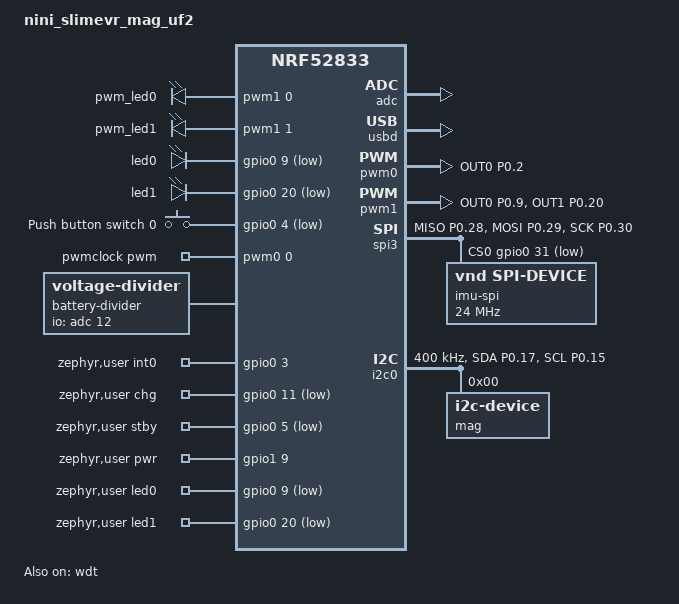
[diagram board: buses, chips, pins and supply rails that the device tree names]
// Copyright (c) 2024 Nordic Semiconductor ASA
// SPDX-License-Identifier: Apache-2.0

/dts-v1/;
#include <nordic/nrf52833_qdaa.dtsi>
#include <zephyr/dt-bindings/gpio/gpio.h>
#include <zephyr/dt-bindings/gpio/nordic-nrf-gpio.h>
#include <zephyr/dt-bindings/pinctrl/nrf-pinctrl.h>

//move to dtsi?


&pinctrl {
	spi3_default: spi3_default {
		group1 {
			psels = <NRF_PSEL(SPIM_MISO, 0, 28)>,
					<NRF_PSEL(SPIM_MOSI, 0, 29)>,
					<NRF_PSEL(SPIM_SCK, 0, 30)>;
		};
	};

	spi3_sleep: spi3_sleep {
		group1 {
			psels = <NRF_PSEL(SPIM_MISO, 0, 28)>,
					<NRF_PSEL(SPIM_MOSI, 0, 29)>,
					<NRF_PSEL(SPIM_SCK, 0, 30)>;
			low-power-enable;
		};
	};

	i2c0_default: i2c0_default {
		group1 {
			psels = <NRF_PSEL(TWIM_SDA, 0, 17)>,
					<NRF_PSEL(TWIM_SCL, 0, 15)>;
					bias-disable;
		};
	};

	i2c0_sleep: i2c0_sleep {
		group1 {
			psels = <NRF_PSEL(TWIM_SDA, 0, 17)>,
					<NRF_PSEL(TWIM_SCL, 0, 15)>;
			bias-disable;
			low-power-enable;
		};
	};

	pwm0_default: pwm0_default {
		group1 {
			psels = <NRF_PSEL(PWM_OUT0, 0, 2)>;
			nordic,drive-mode = <NRF_DRIVE_D0S1>;
		};
	};

	pwm0_sleep: pwm0_sleep {
		group1 {
			psels = <NRF_PIN_DISCONNECTED>;
			low-power-enable;
		};
	};

	pwm1_default: pwm1_default {
		group1 {
			psels = <NRF_PSEL(PWM_OUT0, 0, 9)>,
					<NRF_PSEL(PWM_OUT1, 0, 20)>;
			nordic,drive-mode = <NRF_DRIVE_D0S1>;
			nordic,invert;
		};
	};
	
	pwm1_sleep: pwm1_sleep {
		group1 {
			psels = <NRF_PSEL(PWM_OUT0, 0, 9)>,
					<NRF_PSEL(PWM_OUT1, 0, 20)>;
			low-power-enable;
		};
	};
};



/ {
	model = "nini_slimevr_mag_uf2";
	compatible = "nini_slimevr_mag_uf2";

	chosen {
		zephyr,sram = &sram0;
		zephyr,flash = &flash0;
		zephyr,console = &cdc_acm_uart0;
		zephyr,shell-uart = &cdc_acm_uart0;
	};

	pwmleds {
		compatible = "pwm-leds";
		pwm_led0: pwm_led_0 {
			pwms = <&pwm1 0 PWM_MSEC(1) PWM_POLARITY_INVERTED>;
		};
		pwm_led1: pwm_led_1 {
			pwms = <&pwm1 1 PWM_MSEC(1) PWM_POLARITY_INVERTED>;
		};
	};

	leds {
		compatible = "gpio-leds";
		led0: led_0 {
			gpios = <&gpio0 9 (GPIO_OPEN_DRAIN | GPIO_ACTIVE_LOW)>;
		};
		led1: led_1 {
			gpios = <&gpio0 20 (GPIO_OPEN_DRAIN | GPIO_ACTIVE_LOW)>;
		};
	};

	buttons {
		compatible = "gpio-keys";
		button0: button_0 {
			gpios = <&gpio0 4 (GPIO_PULL_UP | GPIO_ACTIVE_LOW)>;
			label = "Push button switch 0";
		};
	};

	aliases {
		sw0 = &button0;
		led0 = &led0;
		led1 = &led1;
		pwm-led0 = &pwm_led0;
		pwm-led1 = &pwm_led1;
		watchdog0 = &wdt;
	};

	pwmclock: pwmclock {
		compatible = "pwm-clock";
		#clock-cells = <1>;
		pwms = <&pwm0 0 PWM_HZ(32768) PWM_POLARITY_NORMAL>;
	};

	battery-divider {
		compatible = "voltage-divider";
		status = "okay";
		io-channels = <&adc 12>; /* Measure VDDHDIV5 */
		output-ohms = <1>;
		full-ohms = <5>;
	};

	zephyr,user {
		int0-gpios = <&gpio0 3 0>;
		chg-gpios = <&gpio0 11 (GPIO_ACTIVE_LOW | GPIO_PULL_UP)>;
		stby-gpios = <&gpio0 5 (GPIO_ACTIVE_LOW | GPIO_PULL_UP)>;
		pwr-gpios = <&gpio1 9 (GPIO_ACTIVE_HIGH | NRF_GPIO_DRIVE_H0H1)>;
		led0-gpios = <&gpio0 9 (GPIO_OPEN_DRAIN | GPIO_ACTIVE_LOW)>;
		led1-gpios = <&gpio0 20 (GPIO_OPEN_DRAIN | GPIO_ACTIVE_LOW)>;
		/* clk-gpios = <&gpio0 2 GPIO_OPEN_DRAIN>; */
	};
};

&reg1 {
	regulator-initial-mode = <NRF5X_REG_MODE_DCDC>;
};

&adc {
	status = "okay";
};

&gpiote {
	status = "okay";
};

&gpio0 {
    status = "okay";
};

&gpio1 {
    status = "okay";
};

zephyr_udc0: &usbd {
	compatible = "nordic,nrf-usbd";
	status = "okay";
	cdc_acm_uart0: cdc_acm_uart0 {
		compatible = "zephyr,cdc-acm-uart";
	};
};

&nfct {
	status = "disabled";
};

&uicr {
	nfct-pins-as-gpios;
};

&wdt {
	status = "okay";
};

&pwm0 {
	status = "okay";
	pinctrl-0 = <&pwm0_default>;
	pinctrl-1 = <&pwm0_sleep>;
	pinctrl-names = "default", "sleep";
};

&pwm1 {
	status = "okay";
	pinctrl-0 = <&pwm1_default>;
	pinctrl-1 = <&pwm1_sleep>;
	pinctrl-names = "default", "sleep";
};

&spi3 {
	status = "okay";
	compatible = "nordic,nrf-spim";
	pinctrl-0 = <&spi3_default>;
	pinctrl-1 = <&spi3_sleep>;
	pinctrl-names = "default", "sleep";
	max-frequency = <DT_FREQ_M(24)>;
	cs-gpios = <&gpio0 31 GPIO_ACTIVE_LOW>;

	imu_spi: imu_spi@0 {
		compatible = "vnd,spi-device";
		spi-max-frequency = <DT_FREQ_M(24)>;
		label = "imu-spi";
		reg = <0>;
	};
};

&i2c0 {
	compatible = "nordic,nrf-twim";
	status = "okay";
	zephyr,concat-buf-size = <1023>;
	zephyr,flash-buf-max-size = <1023>;
	clock-frequency = <I2C_BITRATE_FAST>;
	pinctrl-0 = <&i2c0_default>;
	pinctrl-1 = <&i2c0_sleep>;
	pinctrl-names = "default", "sleep";

	mag: mag@0 {
		compatible = "i2c-device";
		label = "mag";
		reg = <0>;
	};
};


